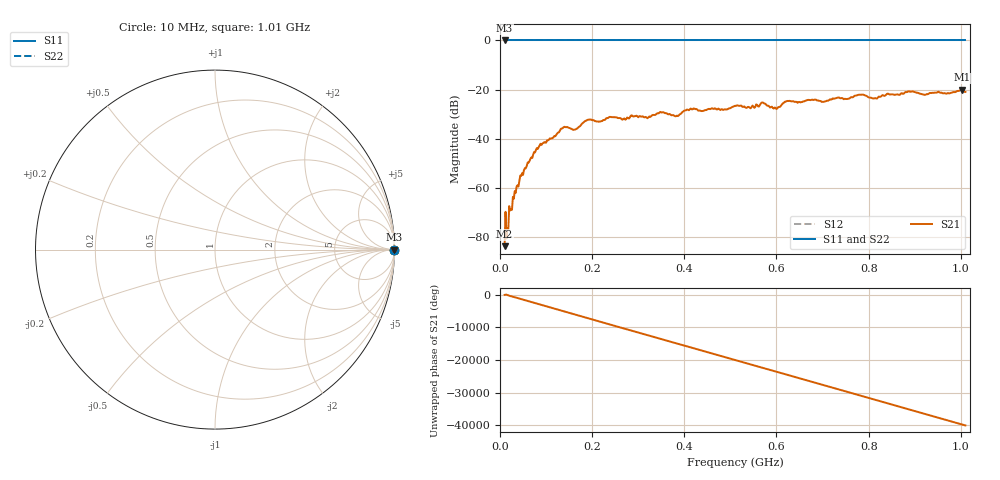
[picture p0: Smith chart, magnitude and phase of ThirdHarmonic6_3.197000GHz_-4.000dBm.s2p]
! 8/17/2025 9:41:46 AM
! C:\ANRITSUVNA\TEMP\TEMP.S2P
! CHANNEL.1
! TR.MEASUREMENT
! RAW.DATA
! RF.CORRECTION.OFF
! AVERAGING.OFF
! IF.BANDWIDTH: 5KHZ
! SWEEPTYPE:  FREQ.SWEEP(Linear)
! Reference Plane Port Info
! PORT:  PORT1  PORT2
! DISTANCE:  0  m  0  m
! TIME:  0  s  0  s
! PHASE.OFFSET:  0  deg.  0  deg.
! LOSS:  0  dB  0  dB
! REF.LOSS:  0  dB  0  dB
! REF.FREQ:  0  Hz  0  Hz
! Power Info
! POWER:  -20  dBm  -20  dBm
! EFF.POWER:  -20  dBm  -20  dBm
! SOURCE.ATTEN:  0  dB  0  dB
! TEST.ATTEN:  0  dB  0  dB
# GHZ S RI R 50.0
! FREQ.GHZ  S11RE  S11IM  S21RE  S21IM  S12RE  S12IM  S22RE  S22IM
!; PortSelection: Port_12
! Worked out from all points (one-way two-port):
!   501 points, 10 MHz to 1.01 GHz, reference 50 ohm
!   highest |S21| = -20.06 dB at 1.002 GHz (marker M1); lowest = -83.6 dB at 10 MHz (marker M2)
!   lowest |S11| = 0.0 dB at 10 MHz (marker M3)
!   |S11| at or under -10 dB: nowhere
!   |S22| runs from 0.0 to 0.0 dB; largest |S21 - S12| = 1.1
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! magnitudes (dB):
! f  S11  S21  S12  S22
! 10 MHz  0.0  -83.6  0.0  0.0
! 18 MHz  0.0  -76.9  0.0  0.0
! 24 MHz  0.0  -68.5  0.0  0.0
! 40 MHz  0.0  -59.4  0.0  0.0
! 76 MHz  0.0  -45.5  0.0  0.0
! 136 MHz  0.0  -35.7  0.0  0.0
! 162 MHz  0.0  -36.2  0.0  0.0
! 178 MHz  0.0  -33.8  0.0  0.0
! 194 MHz  0.0  -32.1  0.0  0.0
! 344 MHz  0.0  -29.6  0.0  0.0
! 384 MHz  0.0  -30.6  0.0  0.0
! 416 MHz  0.0  -28.0  0.0  0.0
! 510 MHz  0.0  -26.6  0.0  0.0
! 570 MHz  0.0  -25.2  0.0  0.0
! 598 MHz  0.0  -27.4  0.0  0.0
! 622 MHz  0.0  -24.7  0.0  0.0
! 678 MHz  0.0  -24.1  0.0  0.0
! 784 MHz  0.0  -22.1  0.0  0.0
! 814 MHz  0.0  -23.4  0.0  0.0
! 844 MHz  0.0  -21.8  0.0  0.0
! 1.002 GHz  0.0  -20.1  0.0  0.0
! 1.01 GHz  0.0  -20.9  0.0  0.0
